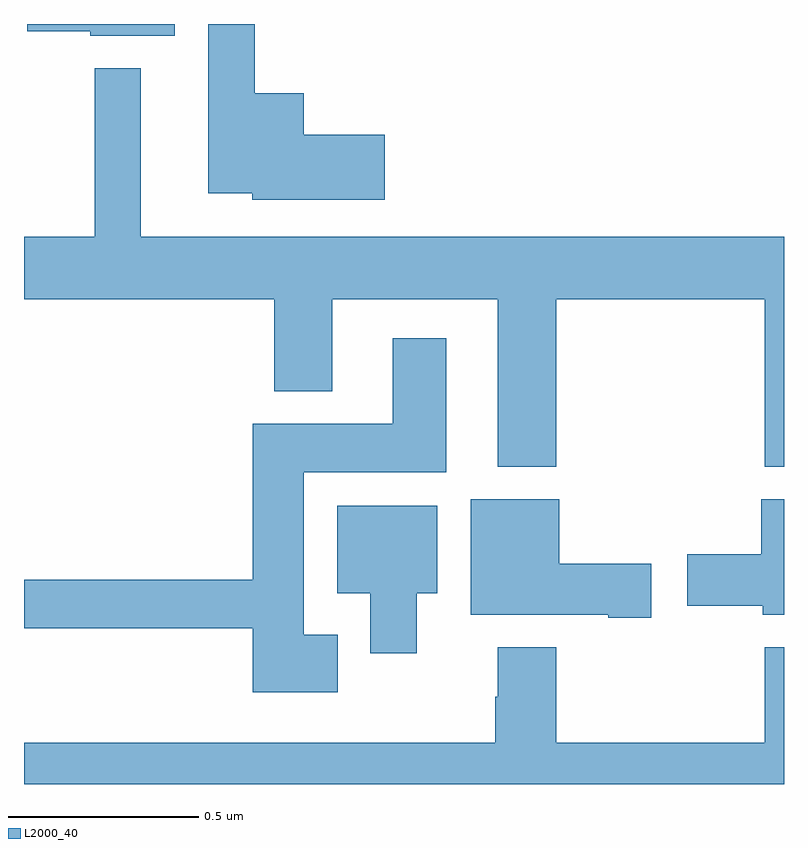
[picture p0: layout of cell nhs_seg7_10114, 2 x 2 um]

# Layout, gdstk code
import gdstk
lib = gdstk.Library(unit=1e-6, precision=1e-09)
def P(c, l, *ps):  # polygons
    for p in ps: c.add(gdstk.Polygon(p, *l))
L2000_40 = (2000, 40)

nhs_seg7_10114 = lib.new_cell('nhs_seg7_10114')
P(nhs_seg7_10114, L2000_40, [(246.397,1008),(246.009,1008),(246.009,1007.981),(246.174,1007.981),(246.174,1007.969),(246.397,1007.969)],
  [(246.949,1007.708),(246.736,1007.708),(246.736,1007.818),(246.607,1007.818),(246.607,1008),(246.485,1008),(246.485,1007.555),(246.6,1007.555),(246.6,1007.537),(246.949,1007.537)],
  [(247.4,1007.276),(247.949,1007.276),(247.949,1006.835),(248,1006.835),(248,1007.44),(246.307,1007.44),(246.307,1007.884),(246.186,1007.884),(246.186,1007.44),(246,1007.44),(246,1007.276),(246.659,1007.276),(246.659,1007.033),(246.811,1007.033),(246.811,1007.276),(247.247,1007.276),(247.247,1006.835),(247.4,1006.835)],
  [(246.826,1006.393),(246.736,1006.393),(246.736,1006.82),(247.111,1006.82),(247.111,1007.173),(246.971,1007.173),(246.971,1006.948),(246.602,1006.948),(246.602,1006.538),(246,1006.538),(246,1006.41),(246.602,1006.41),(246.602,1006.241),(246.826,1006.241)],
  [(248,1006.75),(247.94,1006.75),(247.94,1006.604),(247.746,1006.604),(247.746,1006.469),(247.944,1006.469),(247.944,1006.445),(248,1006.445)],
  [(247.651,1006.58),(247.408,1006.58),(247.408,1006.75),(247.175,1006.75),(247.175,1006.445),(247.538,1006.445),(247.538,1006.438),(247.651,1006.438)],
  [(247.033,1006.502),(247.087,1006.502),(247.087,1006.732),(246.824,1006.732),(246.824,1006.502),(246.911,1006.502),(246.911,1006.344),(247.033,1006.344)],
  [(248,1006.36),(247.949,1006.36),(247.949,1006.108),(247.4,1006.108),(247.4,1006.36),(247.247,1006.36),(247.247,1006.229),(247.24,1006.229),(247.24,1006.108),(246,1006.108),(246,1006),(248,1006)])

lib.write_gds('nhs_seg7_10114.gds')
